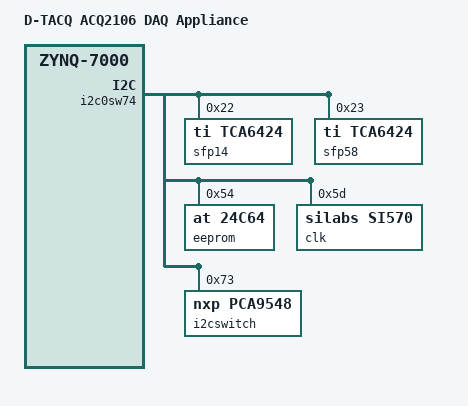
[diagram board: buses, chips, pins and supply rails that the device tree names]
/*
 * Copyright (C) 2013 D-TACQ Solutions Ltd - http://www.d-tacq.com/
 *
 * This program is free software; you can redistribute it and/or modify
 * it under the terms of the GNU General Public License version 2 as
 * published by the Free Software Foundation.
 */

/dts-v1/;
#include "acq2106_common.dtsi"

/ {
	model = "D-TACQ ACQ2106 DAQ Appliance";
	compatible = "xlnx,zynq-zed", "xlnx,zynq-7000";

	chosen {
		bootargs = "";
		stdout-path = "serial0:115200n8";
		build="__DATE__";	
		descr="device tree for ACQ2106, SIX SITES, discarded eth1, adds MGT482 comms module, SPI";
		model="acq2106sfp";
		compatible_model="acq2106";		
	};
};	


&i2c0sw74 {
	/* hardcoded for MGT482 octal sfp controller */
	i2c@7 {
		#address-cells = <1>;
		#size-cells = <0>;
		reg = <0x7>;
	
		sfp14: gpio@22 {
			compatible="ti,tca6424";
			reg=<0x22>;
		};
		sfp58: gpio@23 {
			compatible="ti,tca6424";
			reg=<0x23>;
		};
		eeprom@50 {
			compatible = "at,24c64";
			reg = <0x54>;
		};
		clk@5d {
			compatible = "silabs,si570";
			reg = <0x5d>;
		};
		i2cswitch@73 {
			compatible = "nxp,pca9548";
			#address-cells = <1>;
			#size-cells = <0>;
			reg = <0x73>;
				
			/* 7 sfp's, each with eeprom at 0xa0, control at 0xa2 */					
			sfp@0 {
				#address-cells = <1>;
				#size-cells = <0>;
				reg = <0x0>;
				eeprom@50 {
					compatible = "at,spd";								
					reg = <0x50>;
					read-only;
				};
				ddm@51 {
					compatible = "at,spd";
					reg = <0x51>;
					read-only;
				};							
			};
			sfp@1 {
				#address-cells = <1>;
				#size-cells = <0>;
				reg = <0x1>;
				eeprom@50 {
					compatible = "at,spd";								
					reg = <0x50>;
					read-only;
				};
				ddm@51 {
					compatible = "at,spd";
					reg = <0x51>;
					read-only;
				};													
			};
			sfp@2 {
				#address-cells = <1>;
				#size-cells = <0>;
				reg = <0x2>;
				eeprom@50 {
					compatible = "at,spd";								
					reg = <0x50>;
					read-only;
				};
				ddm@51 {
					compatible = "at,spd";
					reg = <0x51>;
					read-only;
				};																				
			};
			sfp@3 {
				#address-cells = <1>;
				#size-cells = <0>;
				reg = <0x3>;
				eeprom@50 {
					compatible = "at,spd";								
					reg = <0x50>;
					read-only;
				};
				ddm@51 {
					compatible = "at,spd";
					reg = <0x51>;
					read-only;
				};							
			};
			sfp@4 {
				#address-cells = <1>;
				#size-cells = <0>;
				reg = <0x4>;
				eeprom@50 {
					compatible = "at,spd";								
					reg = <0x50>;
					read-only;
				};
				ddm@51 {
					compatible = "at,spd";
					reg = <0x51>;
					read-only;
				};						
			};
			sfp@5 {
				#address-cells = <1>;
				#size-cells = <0>;
				reg = <0x5>;
				eeprom@50 {
					compatible = "at,spd";								
					reg = <0x50>;
					read-only;
				};
				ddm@51 {
					compatible = "at,spd";
					reg = <0x51>;
					read-only;
				};							
			};
			sfp@6 {
				#address-cells = <1>;
				#size-cells = <0>;
				reg = <0x6>;
				eeprom@50 {
					compatible = "at,spd";								
					reg = <0x50>;
					read-only;
				};
				ddm@51 {
					compatible = "at,spd";
					reg = <0x51>;
					read-only;
				};							
			};
			sfp@7 {
				#address-cells = <1>;
				#size-cells = <0>;
				reg = <0x7>;
				eeprom@50 {
					compatible = "at,spd";								
					reg = <0x50>;
					read-only;
				};
				ddm@51 {
					compatible = "at,spd";
					reg = <0x51>;
					read-only;
				};							
			};						
		};
	};
};

